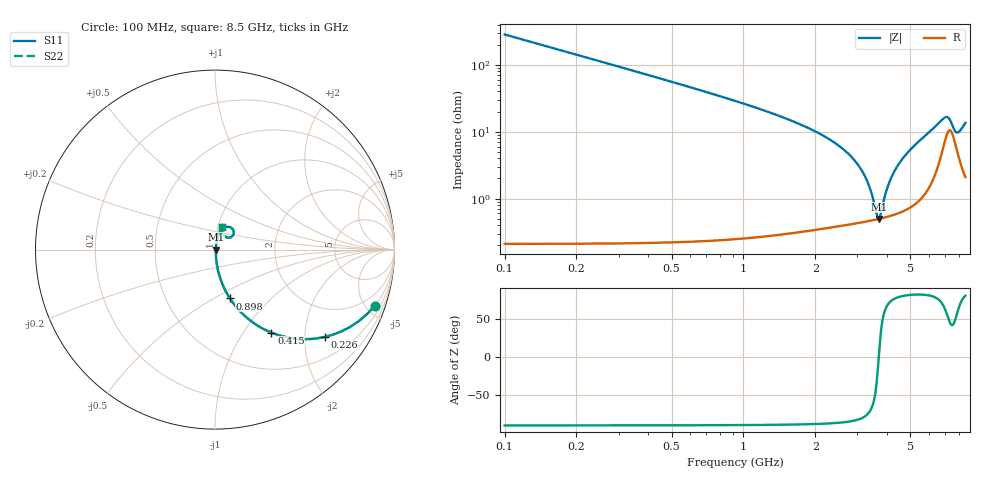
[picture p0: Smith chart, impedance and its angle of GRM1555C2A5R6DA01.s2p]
!Murata Part Number: GRM1555C2A5R6DA01
!These Parameters are Measured in Series Mode Connection
!Data Generated on Mar 30, 2021
!  o--ll--o
!Port1  Port2
!  o------o
!Operation Temp=25[degC], DC Bias Voltage=0[V]
!Freq. Start=100[MHz] Stop=9[GHz] 401[Steps]
# Hz S RI R 50
!Freq.(Hz) S11(Real) S11(Imag) S21(Real) S21(Imag) S12(Real) S12(Imag) S22(Real) S22(Imag)
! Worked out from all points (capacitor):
!   401 points, 100 MHz to 8.5 GHz, reference 50 ohm
!   read as one part in series: C = 5.6 pF near 142 MHz
!   lowest |Z| = 498 mohm at 3.691 GHz (marker M1)
!   series resonance near 3.686 GHz, so ESL is about 330 pH
!   S11 on the Smith chart (normalised r, x): 100 MHz: 1.00, -5.68; 226 MHz: 1.00, -2.51; 415 MHz: 1.00, -1.35; 898 MHz: 1.00, -0.60; 8.5 GHz: 1.04, +0.27
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1e8  0.8895 -0.3131  0.1105 0.3131  0.1105 0.3131  0.8895 -0.3131
2.26e8  0.6107 -0.4868  0.3893 0.4868  0.3893 0.4868  0.6107 -0.4868
3.1e8  0.4533 -0.4966  0.5467 0.4966  0.5467 0.4966  0.4533 -0.4966
4.15e8  0.3143 -0.4626  0.6857 0.4626  0.6857 0.4626  0.3143 -0.4626
6.25e8  0.1646 -0.3682  0.8354 0.3682  0.8354 0.3682  0.1646 -0.3682
8.98e8  0.0834 -0.2724  0.9166 0.2724  0.9166 0.2724  0.0834 -0.2724
1.507e9  0.027 -0.1528  0.973 0.1528  0.973 0.1528  0.027 -0.1528
2.41e9  0.00836 -0.0675  0.9916 0.0675  0.9916 0.0675  0.00836 -0.0675
2.914e9  0.00558 -0.037  0.9944 0.037  0.9944 0.037  0.00558 -0.037
3.292e9  0.00487 -0.0178  0.9951 0.0178  0.9951 0.0178  0.00487 -0.0178
3.439e9  0.00481 -0.011  0.9952 0.011  0.9952 0.011  0.00481 -0.011
3.628e9  0.00489 -0.00252  0.9951 0.00252  0.9951 0.00252  0.00489 -0.00252
3.691e9  0.00495 0.000215  0.995 -0.000215  0.995 -0.000215  0.00495 0.000215
3.754e9  0.00503 0.00292  0.995 -0.00292  0.995 -0.00292  0.00503 0.00292
4.006e9  0.0055 0.0134  0.9945 -0.0134  0.9945 -0.0134  0.0055 0.0134
4.3e9  0.00639 0.0252  0.9936 -0.0252  0.9936 -0.0252  0.00639 0.0252
4.846e9  0.00905 0.0465  0.9909 -0.0465  0.9909 -0.0465  0.00905 0.0465
5.707e9  0.0178 0.0812  0.9822 -0.0812  0.9822 -0.0812  0.0178 0.0812
6.736e9  0.0597 0.1259  0.9403 -0.1259  0.9403 -0.1259  0.0597 0.1259
7.114e9  0.098 0.1144  0.902 -0.1144  0.902 -0.1144  0.098 0.1144
7.807e9  0.0576 0.0719  0.9424 -0.0719  0.9424 -0.0719  0.0576 0.0719
8.5e9  0.0371 0.1262  0.9629 -0.1262  0.9629 -0.1262  0.0371 0.1262
